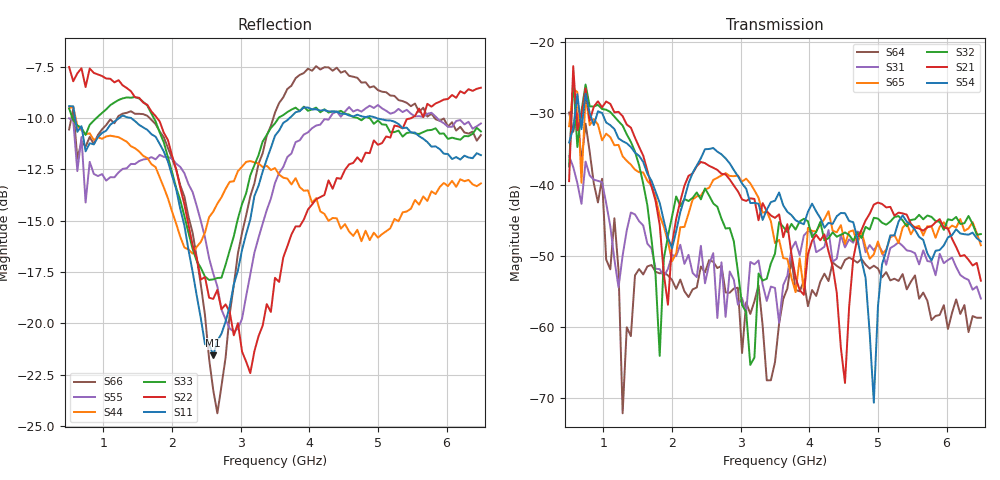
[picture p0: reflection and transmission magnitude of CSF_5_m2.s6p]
!Keysight Technologies,M9804A,MY58100912,A.14.10.03
!Date: Thursday, April 27, 2023 10:28:33
!Correction: S11(C  6-Port  )
!S12(C  6-Port  )
!S13(C  6-Port  )
!S14(C  6-Port  )
!S15(C  6-Port  )
!S16(C  6-Port  )
!S21(C  6-Port  )
!S22(C  6-Port  )
!S23(C  6-Port  )
!S24(C  6-Port  )
!S25(C  6-Port  )
!S26(C  6-Port  )
!S31(C  6-Port  )
!S32(C  6-Port  )
!S33(C  6-Port  )
!S34(C  6-Port  )
!S35(C  6-Port  )
!S36(C  6-Port  )
!S41(C  6-Port  )
!S42(C  6-Port  )
!S43(C  6-Port  )
!S44(C  6-Port  )
!S45(C  6-Port  )
!S46(C  6-Port  )
!S51(C  6-Port  )
!S52(C  6-Port  )
!S53(C  6-Port  )
!S54(C  6-Port  )
!S55(C  6-Port  )
!S56(C  6-Port  )
!S61(C  6-Port  )
!S62(C  6-Port  )
!S63(C  6-Port  )
!S64(C  6-Port  )
!S65(C  6-Port  )
!S66(C  6-Port  )
!S6P File: Measurement: :
# Hz S  RI  R 50
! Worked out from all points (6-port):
!   101 points, 500 MHz to 6.5 GHz, reference 50 ohm
!   strongest paths, dB at 500 MHz, 2 GHz, 3.5 GHz, 5 GHz, 6.5 GHz:
!     S54: -34.1, -48.9, -42.3, -57.1, -48.0
!     S21: -39.5, -48.3, -44.7, -42.5, -53.5
!     S32: -37.4, -44.5, -49.7, -44.8, -46.9
!     S65: -31.8, -50.8, -48.2, -48.0, -48.5
!     S31: -36.0, -49.9, -54.5, -48.4, -56.0
!     S64: -29.9, -53.4, -64.9, -51.8, -58.7
!   lowest |S11| = -21.6 dB at 2.6 GHz (marker M1), VSWR 1.18, Z = 42.6 + j2.11 ohm
!   |S11| at or under -10 dB: 587.4 MHz to 1.232 GHz (644.9 MHz wide, 70.9 % of centre); 1.4 GHz to 3.716 GHz (2.315 GHz wide, 90.5 % of centre); 4.974 GHz to end of sweep
